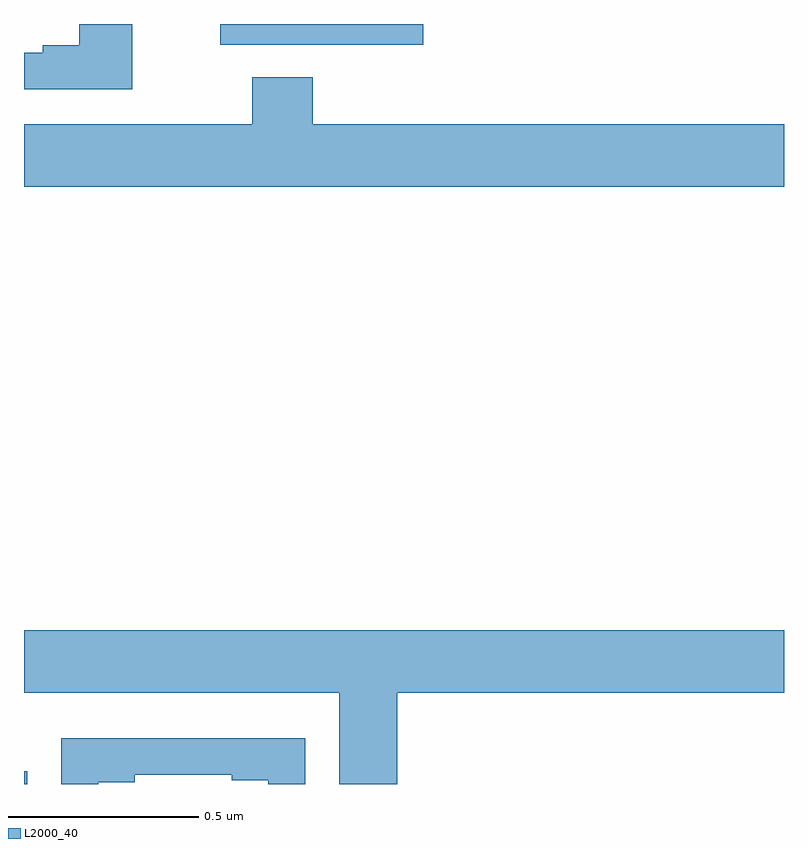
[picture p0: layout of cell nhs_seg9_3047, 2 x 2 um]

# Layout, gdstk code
import gdstk
lib = gdstk.Library(unit=1e-6, precision=1e-09)
def R(c, l, rs):  # rectangles x0, y0, x1, y1
    for r in rs: c.add(gdstk.rectangle(r[:2], r[2:], *l))
def P(c, l, *ps):  # polygons
    for p in ps: c.add(gdstk.Polygon(p, *l))
L2000_40 = (2000, 40)

nhs_seg9_3047 = lib.new_cell('nhs_seg9_3047')
R(nhs_seg9_3047, L2000_40, [(148,1209.5,148.008,1209.533), (148.516,1211.445,149.05,1211.5)])
P(nhs_seg9_3047, L2000_40, [(148.285,1211.5),(148.145,1211.5),(148.145,1211.444),(148.049,1211.444),(148.049,1211.424),(148,1211.424),(148,1211.328),(148.285,1211.328)],
  [(150,1211.236),(148.76,1211.236),(148.76,1211.36),(148.6,1211.36),(148.6,1211.236),(148,1211.236),(148,1211.072),(150,1211.072)],
  [(148.982,1209.74),(150,1209.74),(150,1209.904),(148,1209.904),(148,1209.74),(148.829,1209.74),(148.829,1209.5),(148.982,1209.5)],
  [(148.195,1209.505),(148.291,1209.505),(148.291,1209.525),(148.547,1209.525),(148.547,1209.51),(148.643,1209.51),(148.643,1209.5),(148.74,1209.5),(148.74,1209.621),(148.098,1209.621),(148.098,1209.5),(148.195,1209.5)])

lib.write_gds('nhs_seg9_3047.gds')
